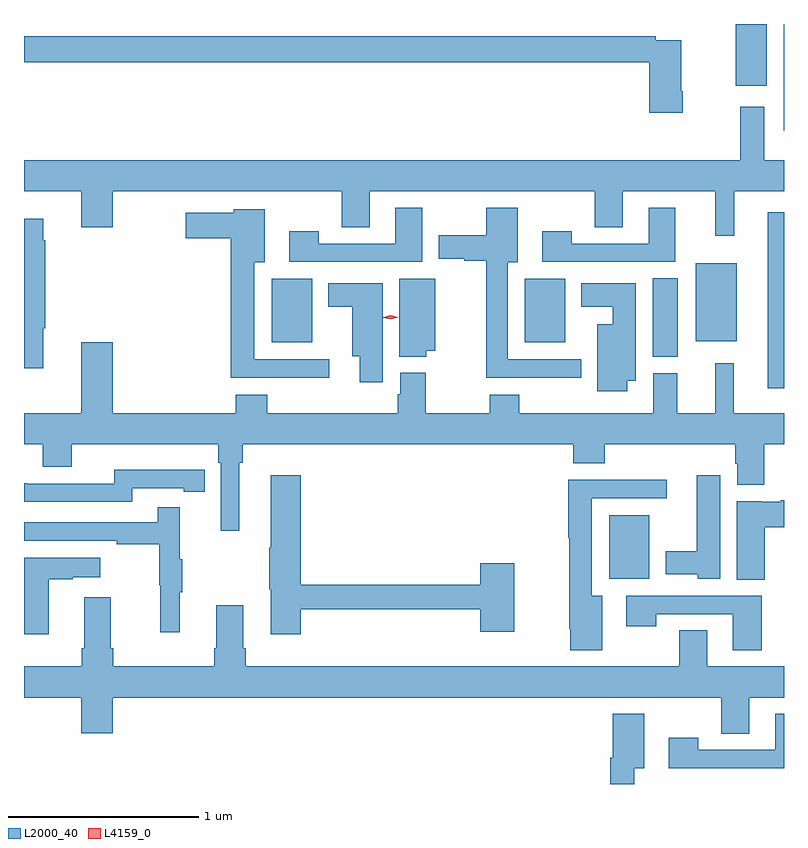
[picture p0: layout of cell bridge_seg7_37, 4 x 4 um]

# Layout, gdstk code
import gdstk
lib = gdstk.Library(unit=1e-6, precision=1e-09)
def R(c, l, rs):  # rectangles x0, y0, x1, y1
    for r in rs: c.add(gdstk.rectangle(r[:2], r[2:], *l))
def P(c, l, *ps):  # polygons
    for p in ps: c.add(gdstk.Polygon(p, *l))
L2000_40 = (2000, 40)
L4159_0 = (4159, 0)

bridge_seg7_37 = lib.new_cell('bridge_seg7_37')
R(bridge_seg7_37, L2000_40, [(911.042,1057.184,911.254,1057.519), (911.876,1058.189,911.962,1059.115), (911.27,1058.353,911.404,1058.768), (909.266,1058.429,909.478,1058.764), (910.598,1058.429,910.81,1058.764), (911.498,1058.435,911.713,1058.845), (911.961,1059.542,911.962,1060.105), (911.708,1059.779,911.872,1060.105)])
P(bridge_seg7_37, L2000_40, [(911.43,1059.751),(911.422,1059.751),(911.422,1060.02),(911.288,1060.02),(911.288,1060.04),(907.962,1060.04),(907.962,1059.904),(911.252,1059.904),(911.252,1059.639),(911.43,1059.639)],
  [(911.732,1059.67),(911.732,1059.388),(907.962,1059.388),(907.962,1059.224),(908.264,1059.224),(908.264,1059.036),(908.428,1059.036),(908.428,1059.224),(909.634,1059.224),(909.634,1059.034),(909.781,1059.034),(909.781,1059.224),(910.966,1059.224),(910.966,1059.034),(911.113,1059.034),(911.113,1059.224),(911.6,1059.224),(911.6,1058.991),(911.699,1058.991),(911.699,1059.224),(911.962,1059.224),(911.962,1059.388),(911.857,1059.388),(911.857,1059.67)],
  [(910.057,1059.139),(909.917,1059.139),(909.917,1058.949),(909.513,1058.949),(909.513,1059.013),(909.357,1059.013),(909.357,1058.853),(910.057,1058.853)],
  [(911.389,1059.139),(911.249,1059.139),(911.249,1058.949),(910.845,1058.949),(910.845,1059.013),(910.689,1059.013),(910.689,1058.853),(911.389,1058.853)],
  [(910.894,1058.34),(910.507,1058.34),(910.507,1058.852),(910.561,1058.852),(910.561,1059.139),(910.394,1059.139),(910.394,1058.992),(910.146,1058.992),(910.146,1058.87),(910.278,1058.87),(910.278,1058.858),(910.394,1058.858),(910.394,1058.243),(910.894,1058.243)],
  [(909.568,1058.34),(909.175,1058.34),(909.175,1058.852),(909.229,1058.852),(909.229,1059.13),(909.066,1059.13),(909.066,1059.112),(908.814,1059.112),(908.814,1058.978),(909.05,1058.978),(909.05,1058.243),(909.568,1058.243)],
  [(908.062,1058.504),(908.075,1058.504),(908.075,1058.966),(908.062,1058.966),(908.062,1059.079),(907.962,1059.079),(907.962,1058.292),(908.062,1058.292)],
  [(910.08,1058.384),(910.126,1058.384),(910.126,1058.764),(909.938,1058.764),(909.938,1058.354),(910.08,1058.354)],
  [(909.85,1058.74),(909.563,1058.74),(909.563,1058.618),(909.689,1058.618),(909.689,1058.357),(909.728,1058.357),(909.728,1058.22),(909.85,1058.22)],
  [(911.137,1058.228),(911.182,1058.228),(911.182,1058.74),(910.895,1058.74),(910.895,1058.618),(911.06,1058.618),(911.06,1058.524),(910.979,1058.524),(910.979,1058.172),(911.137,1058.172)],
  [(910.853,1057.793),(911.018,1057.793),(911.018,1057.892),(911.705,1057.892),(911.705,1057.791),(911.717,1057.791),(911.717,1057.679),(911.858,1057.679),(911.858,1057.892),(911.962,1057.892),(911.962,1058.056),(911.698,1058.056),(911.698,1058.32),(911.6,1058.32),(911.6,1058.056),(911.401,1058.056),(911.401,1058.268),(911.273,1058.268),(911.273,1058.056),(910.569,1058.056),(910.569,1058.155),(910.414,1058.155),(910.414,1058.056),(910.077,1058.056),(910.077,1058.269),(909.941,1058.269),(909.941,1058.157),(909.929,1058.157),(909.929,1058.056),(909.242,1058.056),(909.242,1058.155),(909.077,1058.155),(909.077,1058.056),(908.428,1058.056),(908.428,1058.431),(908.264,1058.431),(908.264,1058.056),(907.962,1058.056),(907.962,1057.892),(908.06,1057.892),(908.06,1057.775),(908.212,1057.775),(908.212,1057.892),(908.984,1057.892),(908.984,1057.796),(908.997,1057.796),(908.997,1057.437),(909.094,1057.437),(909.094,1057.796),(909.113,1057.796),(909.113,1057.892),(910.853,1057.892)],
  [(908.532,1057.662),(908.804,1057.662),(908.804,1057.642),(908.912,1057.642),(908.912,1057.758),(908.804,1057.758),(908.804,1057.759),(908.436,1057.759),(908.436,1057.686),(907.976,1057.686),(907.976,1057.688),(907.962,1057.688),(907.962,1057.59),(908.532,1057.59)],
  [(911.626,1057.729),(911.504,1057.729),(911.504,1057.33),(911.339,1057.33),(911.339,1057.208),(911.508,1057.208),(911.508,1057.184),(911.626,1057.184)],
  [(909.419,1057.026),(910.364,1057.026),(910.364,1056.906),(910.542,1056.906),(910.542,1057.267),(910.364,1057.267),(910.364,1057.154),(909.419,1057.154),(909.419,1057.729),(909.26,1057.729),(909.26,1057.349),(909.253,1057.349),(909.253,1057.131),(909.26,1057.131),(909.26,1056.894),(909.419,1056.894)],
  [(911.005,1057.096),(910.951,1057.096),(910.951,1057.608),(911.344,1057.608),(911.344,1057.706),(910.826,1057.706),(910.826,1057.401),(910.831,1057.401),(910.831,1056.922),(910.838,1056.922),(910.838,1056.81),(911.005,1056.81)],
  [(911.861,1057.457),(911.962,1057.457),(911.962,1057.599),(911.944,1057.599),(911.944,1057.591),(911.844,1057.591),(911.844,1057.594),(911.714,1057.594),(911.714,1057.18),(911.861,1057.18)],
  [(908.783,1057.115),(908.794,1057.115),(908.794,1057.289),(908.783,1057.289),(908.783,1057.561),(908.665,1057.561),(908.665,1057.482),(907.962,1057.482),(907.962,1057.386),(908.449,1057.386),(908.449,1057.366),(908.673,1057.366),(908.673,1057.152),(908.68,1057.152),(908.68,1056.903),(908.783,1056.903)],
  [(908.092,1057.183),(908.219,1057.183),(908.219,1057.193),(908.362,1057.193),(908.362,1057.297),(907.962,1057.297),(907.962,1056.894),(908.092,1056.894)],
  [(911.846,1057.095),(911.133,1057.095),(911.133,1056.936),(911.289,1056.936),(911.289,1056.999),(911.693,1056.999),(911.693,1056.81),(911.846,1056.81)],
  [(911.632,1056.37),(911.779,1056.37),(911.779,1056.56),(911.962,1056.56),(911.962,1056.724),(911.557,1056.724),(911.557,1056.914),(911.41,1056.914),(911.41,1056.724),(909.128,1056.724),(909.128,1056.82),(909.115,1056.82),(909.115,1057.045),(908.975,1057.045),(908.975,1056.82),(908.963,1056.82),(908.963,1056.724),(908.432,1056.724),(908.432,1056.82),(908.419,1056.82),(908.419,1057.087),(908.279,1057.087),(908.279,1056.82),(908.267,1056.82),(908.267,1056.724),(907.962,1056.724),(907.962,1056.56),(908.264,1056.56),(908.264,1056.372),(908.428,1056.372),(908.428,1056.56),(911.632,1056.56)],
  [(911.962,1056.475),(911.915,1056.475),(911.915,1056.285),(911.511,1056.285),(911.511,1056.349),(911.355,1056.349),(911.355,1056.189),(911.962,1056.189)],
  [(911.173,1056.188),(911.227,1056.188),(911.227,1056.475),(911.06,1056.475),(911.06,1056.242),(911.048,1056.242),(911.048,1056.105),(911.173,1056.105)])
P(bridge_seg7_37, L4159_0, [(909.893,1058.551),(909.854,1058.56),(909.854,1058.561),(909.854,1058.561),(909.893,1058.571),(909.932,1058.561),(909.932,1058.561),(909.932,1058.561)])

lib.write_gds('bridge_seg7_37.gds')
